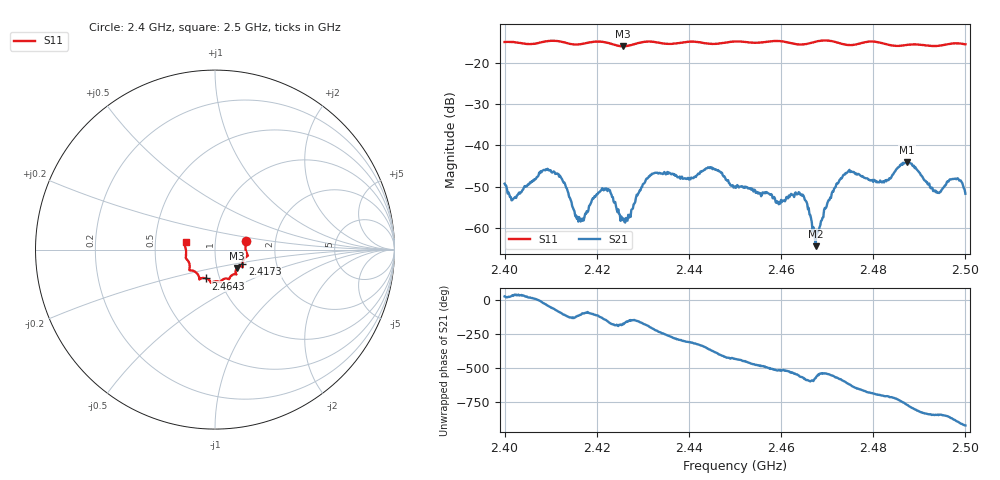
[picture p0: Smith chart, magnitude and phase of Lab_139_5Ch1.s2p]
# Hz S RI R 50
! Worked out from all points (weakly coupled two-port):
!   601 points, 2.4 GHz to 2.5 GHz, reference 50 ohm
!   highest |S21| = -43.98 dB at 2.4873 GHz (marker M1); lowest = -64.5 dB at 2.4675 GHz (marker M2)
!   lowest |S11| = -15.9 dB at 2.4257 GHz (marker M3), VSWR 1.38, Z = 62.4 - j13.1 ohm
!   |S11| at or under -10 dB: start of sweep to end of sweep
!   S12 and S22 are empty: the file has one direction only
!   S11 on the Smith chart (normalised r, x): 2.4 GHz: 1.41, +0.14; 2.4173 GHz: 1.34, -0.23; 2.4643 GHz: 0.86, -0.28; 2.5 GHz: 0.72, +0.06
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2.4e9  0.1733 0.0497  0.00298 0.00171  0 0  0 0
2.402e9  0.1751 0.0414  0.0018 0.00139  0 0  0 0
2.4095e9  0.1828 -0.0309  0.00378 -0.00329  0 0  0 0
2.4125e9  0.1771 -0.0379  -0.000571 -0.00382  0 0  0 0
2.416667e9  0.1531 -0.0748  -0.000272 -0.00126  0 0  0 0
2.417333e9  0.1523 -0.0823  -0.00013 -0.00134  0 0  0 0
2.421667e9  0.1528 -0.095  -0.00229 -0.00191  0 0  0 0
2.425667e9  0.1225 -0.1022  -0.00128 -0.000189  0 0  0 0
2.4305e9  0.1189 -0.1373  -0.00361 -0.000153  0 0  0 0
2.433333e9  0.1127 -0.1367  -0.00296 0.00346  0 0  0 0
2.444667e9  0.0579 -0.1612  0.00543 -0.00051  0 0  0 0
2.45e9  0.0296 -0.1807  0.00103 -0.00302  0 0  0 0
2.459333e9  -0.0221 -0.184  -0.00185 -0.000842  0 0  0 0
2.464333e9  -0.0503 -0.1604  -0.00233 0.00103  0 0  0 0
2.466667e9  -0.0762 -0.1596  -0.000756 0.000893  0 0  0 0
2.4675e9  -0.0822 -0.1622  -0.000507 0.000319  0 0  0 0
2.474333e9  -0.1003 -0.1325  -0.00163 0.0044  0 0  0 0
2.483333e9  -0.1409 -0.0893  0.0037 0.00087  0 0  0 0
2.487333e9  -0.1574 -0.0543  0.00413 -0.00479  0 0  0 0
2.4935e9  -0.161 -0.00768  -0.0015 -0.00241  0 0  0 0
2.497833e9  -0.1713 0.0309  -0.0038 -0.00113  0 0  0 0
2.5e9  -0.1637 0.0421  -0.00242 0.000922  0 0  0 0
